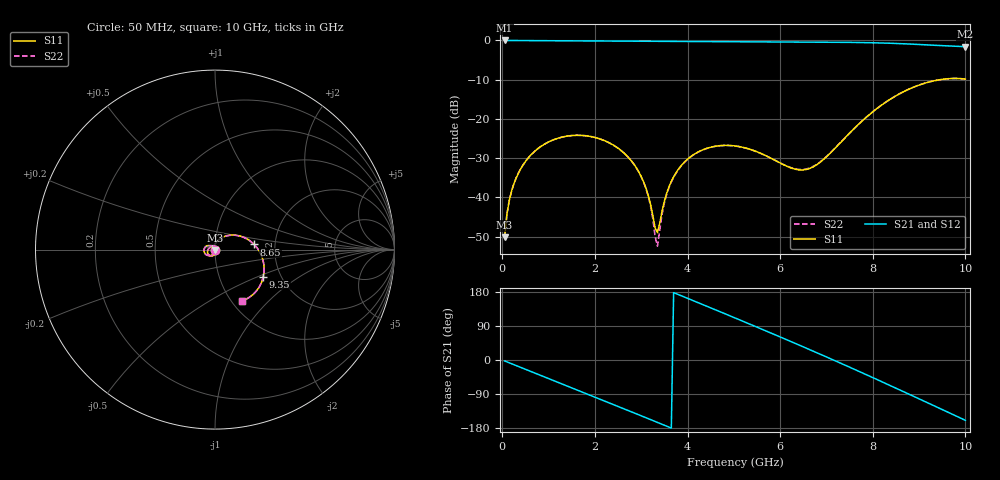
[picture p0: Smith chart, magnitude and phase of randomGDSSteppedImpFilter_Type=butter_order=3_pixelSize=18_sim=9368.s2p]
! freq	dB(S11)	phase(S11)	dB(S12)	phase(S12)
!  dB(S21)	phase(S21)	dB(S22)	phase(S22)
!S-par simulation data
#  GHz  S  DB  R 50
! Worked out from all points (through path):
!   200 points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, 50 MHz to 10 GHz, reference 50 ohm
!   highest |S21| = 0.00 dB at 50 MHz (marker M1); lowest = -1.6 dB at 10 GHz (marker M2)
!   group delay of S21, straight-line fit = 143 ps
!   lowest |S11| = -50.2 dB at 50 MHz (marker M3), VSWR 1.01, Z = 50 - j0.308 ohm
!   |S11| at or under -10 dB: start of sweep to 9.455 GHz
!   |S22| runs from -52.4 to -9.7 dB; largest |S21 - S12| = 0
!   S11 on the Smith chart (normalised r, x): 50 MHz: 1.00, -0.01; 8.65 GHz: 1.55, +0.09; 9.35 GHz: 1.63, -0.54; 10 GHz: 1.11, -0.71
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0.05  -50.23 -92.0  -0.00 -2.5  -0.00 -2.5  -50.23 -92.0
0.1  -44.27 -94.1  -0.01 -5.0  -0.01 -5.0  -44.27 -94.1
0.2  -38.41 -98.9  -0.02 -9.9  -0.02 -9.9  -38.41 -98.9
0.5  -30.86 -114.8  -0.04 -24.5  -0.04 -24.5  -30.86 -114.8
1.05  -25.59 -142.8  -0.07 -51.4  -0.07 -51.4  -25.59 -142.6
1.75  -24.23 -177.8  -0.11 -85.6  -0.11 -85.6  -24.23 -177.4
2.25  -25.77 156.7  -0.14 -110.2  -0.14 -110.2  -25.77 157.4
2.8  -30.89 126.4  -0.16 -137.3  -0.16 -137.3  -30.91 128.2
3.15  -39.43 97.1  -0.19 -154.7  -0.19 -154.7  -39.64 102.9
3.35  -49.02 7.7  -0.20 -164.7  -0.20 -164.7  -52.45 4.9
3.4  -46.60 -28.2  -0.21 -167.1  -0.21 -167.1  -48.36 -39.8
3.6  -37.29 -71.9  -0.22 -177.1  -0.22 -177.1  -37.50 -77.4
3.9  -31.43 -94.1  -0.25 167.8  -0.25 167.8  -31.49 -97.3
4.4  -27.56 -122.0  -0.29 142.7  -0.29 142.7  -27.60 -124.4
5.05  -26.93 -155.9  -0.33 109.8  -0.33 109.8  -26.95 -158.4
5.85  -30.32 160.5  -0.37 68.7  -0.37 68.7  -30.32 156.7
6.7  -32.31 106.2  -0.41 24.1  -0.41 24.1  -32.19 101.9
7.5  -23.63 65.8  -0.49 -18.9  -0.49 -18.9  -23.60 64.5
8.35  -15.19 23.2  -0.70 -65.9  -0.70 -65.9  -15.19 22.9
8.65  -13.15 7.5  -0.84 -82.8  -0.84 -82.8  -13.15 7.3
9.35  -10.22 -29.2  -1.24 -122.2  -1.24 -122.2  -10.22 -29.2
10  -9.85 -62.5  -1.58 -159.3  -1.58 -159.3  -9.85 -62.4
